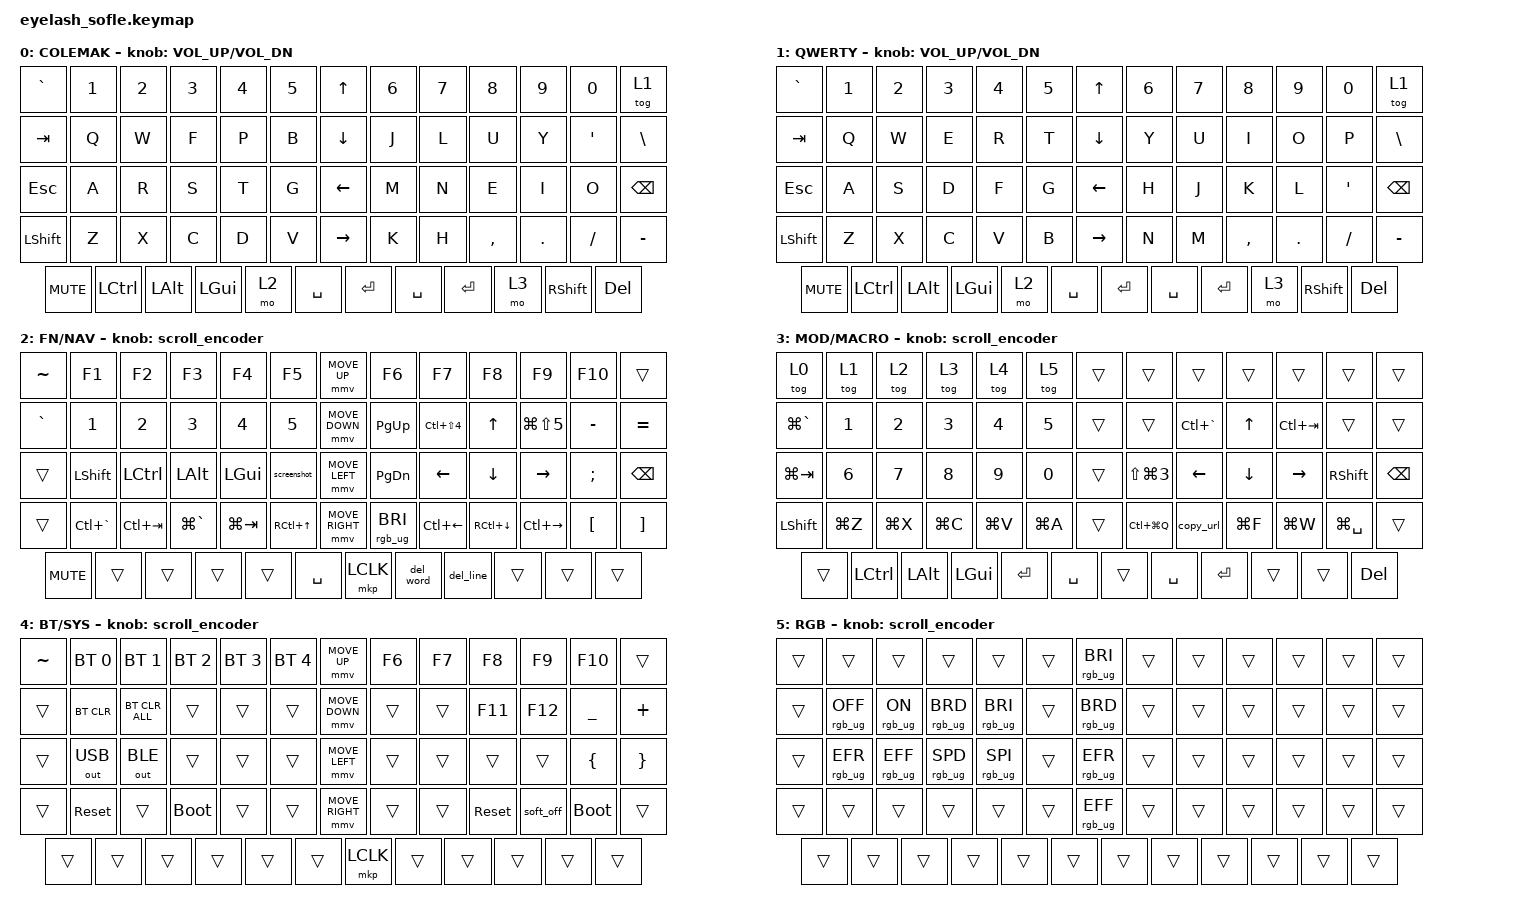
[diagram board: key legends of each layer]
#define ZMK_POINTING_DEFAULT_MOVE_VAL 1200
#define ZMK_POINTING_DEFAULT_SCRL_VAL 25

#include <input/processors.dtsi>
#include <zephyr/dt-bindings/input/input-event-codes.h>
#include <behaviors.dtsi>
#include <dt-bindings/zmk/bt.h>
#include <dt-bindings/zmk/keys.h>
#include <dt-bindings/zmk/outputs.h>
#include <dt-bindings/zmk/pointing.h>
#include <dt-bindings/zmk/rgb.h>

&mmv_input_listener { input-processors = <&zip_xy_scaler 2 1>; };

&msc_input_listener { input-processors = <&zip_scroll_scaler 2 1>; };

&msc {
    acceleration-exponent = <1>;
    time-to-max-speed-ms = <100>;
    delay-ms = <0>;
};

&mmv {
    time-to-max-speed-ms = <500>;
    acceleration-exponent = <1>;
    trigger-period-ms = <16>;
};

&soft_off { hold-time-ms = <2000>; };

/ {
    scroll_encoder: scroll_encoder {
        compatible = "zmk,behavior-sensor-rotate";
        #sensor-binding-cells = <0>;
        bindings = <&msc SCRL_DOWN>, <&msc SCRL_UP>;
        tap-ms = <100>;
    };

    behaviors {
    };

    combos {
        compatible = "zmk,combos";

        softoff {
            bindings = <&soft_off>;
            key-positions = <14 28 40>;
        };
    };

    macros {
        SHIFT_MCLK: SHIFT_MCLK {
            compatible = "zmk,behavior-macro";
            #binding-cells = <0>;
            bindings
                = <&macro_press>,
                <&kp LEFT_SHIFT>,
                <&macro_press>,
                <&mkp MB3>,
                <&macro_pause_for_release>,
                <&macro_release>,
                <&kp LEFT_SHIFT>,
                <&mkp MB3>;
            label = "SHIFT_MCLK";
        };

        screenshot: screenshot {
            compatible = "zmk,behavior-macro";
            #binding-cells = <0>;
            bindings
                = <&macro_press &kp LSHFT &kp LGUI &kp LCTRL>,
                <&macro_tap &kp N4>,
                <&macro_release &kp LSHFT &kp LGUI &kp LCTRL>;
            label = "SCREENSHOT";
        };

        lock_screen: lock_screen {
            compatible = "zmk,behavior-macro";
            #binding-cells = <0>;
            bindings
                = <&macro_press &kp LGUI &kp LCTRL>,
                <&macro_tap &kp Q>,
                <&macro_release &kp LGUI &kp LCTRL>;
            label = "LOCK_SCREEN";
        };

        del_word: del_word {
            compatible = "zmk,behavior-macro";
            #binding-cells = <0>;
            bindings
                = <&macro_press &kp LALT>,
                <&macro_tap &kp BACKSPACE>,
                <&macro_release &kp LALT>;
            label = "DEL_WORD";
        };

        del_line: del_line {
            compatible = "zmk,behavior-macro";
            #binding-cells = <0>;
            bindings
                = <&macro_press &kp LGUI>,
                <&macro_tap &kp BACKSPACE>,
                <&macro_release &kp LGUI>;
            label = "DEL_LINE";
        };

        copy_url: copy_url {
            compatible = "zmk,behavior-macro";
            #binding-cells = <0>;
            wait-ms = <30>;
            tap-ms = <30>;
            bindings
                = <&macro_press &kp LGUI>,
                <&macro_tap &kp L>,
                <&macro_release &kp LGUI>,
                <&macro_wait_time 50>,
                <&macro_press &kp LGUI>,
                <&macro_tap &kp C>,
                <&macro_release &kp LGUI>;
            label = "COPY_URL";
        };

    };

    keymap {
        compatible = "zmk,keymap";

        colemak {
            bindings = <
&kp GRAVE  &kp N1     &kp N2     &kp N3     &kp N4     &kp N5       &kp UP_ARROW   &kp N6  &kp N7  &kp N8  &kp N9  &kp N0  &tog 1
&kp TAB  &kp Q    &kp W    &kp F    &kp P    &kp B      &kp DOWN_ARROW   &kp J     &kp L     &kp U     &kp Y     &kp APOS  &kp BSLH
&kp ESC  &kp A    &kp R    &kp S    &kp T    &kp G      &kp LEFT_ARROW   &kp M          &kp N          &kp E          &kp I          &kp O          &kp BACKSPACE
&kp LSHFT  &kp Z      &kp X      &kp C      &kp D      &kp V        &kp RIGHT_ARROW   &kp K      &kp H      &kp COMMA  &kp DOT    &kp FSLH   &kp MINUS
&kp C_MUTE    &kp LCTRL     &kp LEFT_ALT  &kp LEFT_GUI  &mo 2         &kp SPACE       &kp ENTER        &kp SPACE        &kp ENTER        &mo 3            &kp RIGHT_SHIFT  &kp DELETE     
            >;

            sensor-bindings = <&inc_dec_kp C_VOLUME_UP C_VOL_DN>;
            display-name = "COLEMAK";
        };

        qwerty {
            bindings = <
&kp GRAVE  &kp N1     &kp N2     &kp N3     &kp N4     &kp N5       &kp UP_ARROW   &kp N6  &kp N7  &kp N8  &kp N9  &kp N0  &tog 1
&kp TAB  &kp Q    &kp W    &kp E    &kp R    &kp T      &kp DOWN_ARROW   &kp Y     &kp U     &kp I     &kp O     &kp P     &kp BSLH
&kp ESC  &kp A    &kp S    &kp D    &kp F    &kp G      &kp LEFT_ARROW   &kp H          &kp J          &kp K          &kp L          &kp APOS       &kp BACKSPACE
&kp LSHFT  &kp Z      &kp X      &kp C      &kp V      &kp B        &kp RIGHT_ARROW   &kp N      &kp M      &kp COMMA  &kp DOT    &kp FSLH   &kp MINUS
&kp C_MUTE    &kp LCTRL     &kp LEFT_ALT  &kp LEFT_GUI  &mo 2         &kp SPACE       &kp ENTER        &kp SPACE        &kp ENTER        &mo 3            &kp RIGHT_SHIFT  &kp DELETE     
            >;

            sensor-bindings = <&inc_dec_kp C_VOLUME_UP C_VOL_DN>;
            display-name = "QWERTY";
        };

        func_nav {
            bindings = <
&kp TILDE  &kp F1     &kp F2     &kp F3     &kp F4     &kp F5       &mmv MOVE_UP   &kp F6   &kp F7   &kp F8   &kp F9   &kp F10  &trans 
&kp GRAVE  &kp N1     &kp N2     &kp N3     &kp N4     &kp N5       &mmv MOVE_DOWN   &kp PG_UP       &kp LC(LS(N4))  &kp UP          &kp LG(LS(N5))  &kp MINUS       &kp EQUAL     
&trans        &kp LSHFT     &kp LCTRL     &kp LEFT_ALT  &kp LEFT_GUI  &screenshot     &mmv MOVE_LEFT   &kp PG_DN      &kp LEFT       &kp DOWN       &kp RIGHT      &kp SEMI       &kp BACKSPACE
&trans       &kp LC(GRAVE)    &kp LC(TAB)  &kp LG(GRAVE)    &kp LG(TAB)  &kp RC(UP)     &mmv MOVE_RIGHT   &rgb_ug RGB_BRI  &kp LC(LEFT)     &kp RC(DOWN)     &kp LC(RIGHT)    &kp LBKT         &kp RBKT       
&kp C_MUTE  &trans      &trans      &trans      &trans      &kp SPACE     &mkp LCLK  &del_word  &del_line  &trans     &trans     &trans   
            >;

            sensor-bindings = <&scroll_encoder>;
            display-name = "FN/NAV";
        };

        layer_3 {
            bindings = <
&tog 0  &tog 1  &tog 2  &tog 3  &tog 4  &tog 5    &trans   &trans  &trans  &trans  &trans  &trans  &trans
&kp LG(GRAVE)  &kp N1     &kp N2     &kp N3     &kp N4     &kp N5       &trans      &trans       &kp LC(GRAVE)    &kp UP       &kp LC(TAB)  &trans       &trans     
&kp LG(TAB)  &kp N6       &kp N7       &kp N8       &kp N9       &kp N0         &trans        &kp LS(LG(N3))  &kp LEFT        &kp DOWN        &kp RIGHT       &kp RSHFT       &kp BACKSPACE 
&kp LSHFT  &kp LG(Z)  &kp LG(X)  &kp LG(C)  &kp LG(V)  &kp LG(A)    &trans      &kp LC(LG(Q))  &copy_url      &kp LG(F)      &kp LG(W)      &kp LG(SPACE)  &trans       
&trans        &kp LCTRL     &kp LEFT_ALT  &kp LGUI      &kp ENTER     &kp SPACE       &trans      &kp SPACE   &kp ENTER   &trans      &trans      &kp DELETE
            >;

            sensor-bindings = <&scroll_encoder>;
            display-name = "MOD/MACRO";
        };

        bt_sys {
            bindings = <
&kp TILDE     &bt BT_SEL 0  &bt BT_SEL 1  &bt BT_SEL 2  &bt BT_SEL 3  &bt BT_SEL 4    &mmv MOVE_UP   &kp F6   &kp F7   &kp F8   &kp F9   &kp F10  &trans 
&trans          &bt BT_CLR      &bt BT_CLR_ALL  &trans          &trans          &trans            &mmv MOVE_DOWN   &trans     &trans     &kp F11    &kp F12    &kp UNDER  &kp PLUS 
&trans        &out OUT_USB  &out OUT_BLE  &trans        &trans        &trans          &mmv MOVE_LEFT   &trans    &trans    &trans    &trans    &kp LBRC  &kp RBRC
&trans       &sys_reset   &trans       &bootloader  &trans       &trans         &mmv MOVE_RIGHT   &trans       &trans       &sys_reset   &soft_off    &bootloader  &trans     
&trans  &trans  &trans  &trans  &trans  &trans    &mkp LCLK  &trans     &trans     &trans     &trans     &trans   
            >;

            sensor-bindings = <&scroll_encoder>;
            display-name = "BT/SYS";
        };

        layer_5 {
            bindings = <
&trans  &trans  &trans  &trans  &trans  &trans    &rgb_ug RGB_BRI   &trans  &trans  &trans  &trans  &trans  &trans
&trans           &rgb_ug RGB_OFF  &rgb_ug RGB_ON   &rgb_ug RGB_BRD  &rgb_ug RGB_BRI  &trans             &rgb_ug RGB_BRD   &trans  &trans  &trans  &trans  &trans  &trans
&trans           &rgb_ug RGB_EFR  &rgb_ug RGB_EFF  &rgb_ug RGB_SPD  &rgb_ug RGB_SPI  &trans             &rgb_ug RGB_EFR   &trans  &trans  &trans  &trans  &trans  &trans
&trans  &trans  &trans  &trans  &trans  &trans    &rgb_ug RGB_EFF   &trans  &trans  &trans  &trans  &trans  &trans
&trans  &trans  &trans  &trans  &trans  &trans    &trans  &trans  &trans  &trans  &trans  &trans
            >;

            sensor-bindings = <&scroll_encoder>;
            display-name = "RGB";
        };

    };
};
